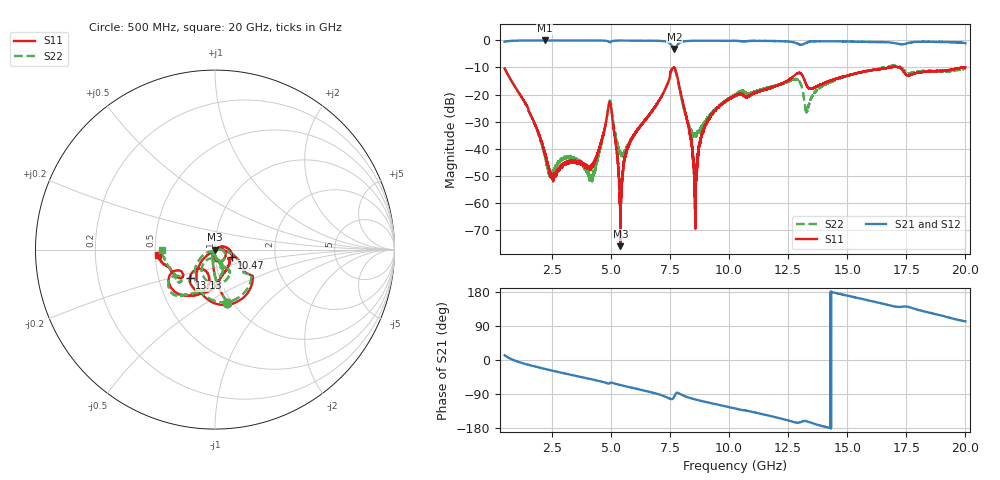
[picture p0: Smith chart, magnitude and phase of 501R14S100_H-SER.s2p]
!{501R14S100}
!Johanson Technology Inc.
!www.johansontechnology.com
!Test Board Conditions:
!Substrate Type  RO4350B
!Substrate Thickness  20 mil
!Substrate Dk  3.66
!TL Type: GCPW
!TL Trace Width  36 mil
!TL Gap  12 mil
!Electrode orientation  Horizontal
!DUT TOPOLOGY	SERIES
!Mounting Pad LxW  26x36 mil
! Created Wed Mar 11 16:03:15 2020
# mhz S ma R 50
! 2 Port Network Data from SP1.SP block
! freq  magS11  angS11  magS21  angS21  magS12  angS12  magS22  angS22
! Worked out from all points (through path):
!   19501 points, 500 MHz to 20 GHz, reference 50 ohm
!   highest |S21| = -0.02 dB at 2.195 GHz (marker M1); lowest = -3.2 dB at 7.689 GHz (marker M2)
!   group delay of S21, straight-line fit = 36.3 ps
!   lowest |S11| = -76.0 dB at 5.404 GHz (marker M3), VSWR 1.00, Z = 50 + j0.00324 ohm
!   |S11| at or under -10 dB: start of sweep to 7.643 GHz; 7.674 GHz to 16.8 GHz (9.128 GHz wide, 74.6 % of centre); 17.2 GHz to 19.87 GHz (2.67 GHz wide, 14.4 % of centre) (the widest 3 of 15)
!   |S22| runs from -52.1 to -9.3 dB; largest |S21 - S12| = 0.02
!   S11 on the Smith chart (normalised r, x): 500 MHz: 0.95, -0.62; 10.47 GHz: 1.20, -0.11; 13.13 GHz: 0.72, -0.24; 20 GHz: 0.52, -0.04
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500  0.3042 -76.8  0.9485 12.6  0.9491 12.6  0.3041 -77.0
2195  0.008635 -101.9  0.9971 -23.5  0.9962 -23.5  0.007654 -126.1
2516  0.003009 -50.5  0.9953 -28.1  0.9955 -28.1  0.003462 151.5
3077  0.005365 -9.3  0.996 -35.9  0.9956 -35.9  0.006823 113.2
3750  0.005336 -33.6  0.9943 -45.1  0.9946 -45.1  0.00553 122.3
4247  0.004965 2.2  0.9933 -51.9  0.9929 -51.9  0.003196 58.2
4951  0.07309 -53.2  0.9192 -61.1  0.9195 -61.0  0.07698 -58.6
5404  0.0001582 168.2  0.9924 -66.2  0.992 -66.3  0.008299 -80.6
5773  0.01215 21.3  0.9917 -71.5  0.9917 -71.5  0.01304 -15.1
7000  0.07311 -10.3  0.9819 -90.1  0.9811 -90.2  0.07161 -8.5
7689  0.3121 -81.4  0.6945 -95.0  0.6958 -94.9  0.2937 -84.5
8323  0.01982 -143.9  0.9781 -99.7  0.9781 -99.7  0.02386 -150.6
8567  0.0005729 -52.5  0.9841 -104.0  0.9849 -103.9  0.01824 -121.6
9039  0.02922 28.0  0.9882 -111.0  0.9889 -111.0  0.03373 -88.6
10250  0.09445 -12.7  0.9805 -128.0  0.9816 -127.9  0.09969 -68.6
10466  0.1033 -25.1  0.9722 -131.0  0.9719 -131.0  0.1147 -69.2
12810  0.234 -97.6  0.9018 -164.8  0.904 -164.7  0.1926 -85.6
13130  0.2129 -131.3  0.8451 -161.5  0.8452 -161.6  0.1079 -128.7
13289  0.144 -131.4  0.9132 -161.9  0.9137 -161.9  0.04763 -90.9
13500  0.1295 -115.2  0.9543 -166.4  0.9554 -166.4  0.09058 -63.3
16750  0.3119 -126.8  0.9212 144.9  0.9131 144.7  0.3325 -128.6
20000  0.3182 -174.4  0.8875 102.0  0.8888 102.3  0.2967 -179.3
